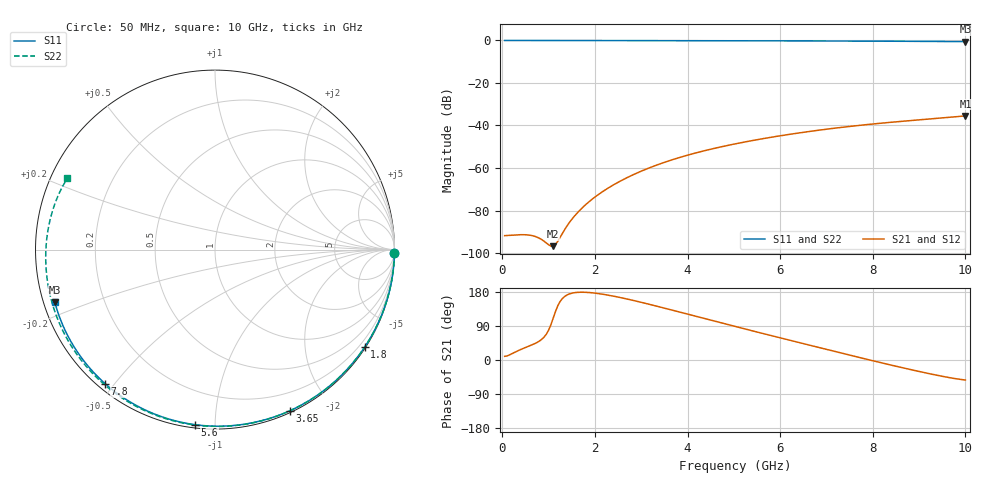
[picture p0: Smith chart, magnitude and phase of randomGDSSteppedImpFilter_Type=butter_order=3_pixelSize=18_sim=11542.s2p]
! freq	dB(S11)	phase(S11)	dB(S12)	phase(S12)
!  dB(S21)	phase(S21)	dB(S22)	phase(S22)
!S-par simulation data
#  GHz  S  DB  R 50
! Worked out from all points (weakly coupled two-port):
!   200 points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, 50 MHz to 10 GHz, reference 50 ohm
!   highest |S21| = -35.48 dB at 10 GHz (marker M1); lowest = -96.8 dB at 1.1 GHz (marker M2)
!   lowest |S11| = -0.5 dB at 10 GHz (marker M3), VSWR 31.96, Z = 1.6 - j7.94 ohm
!   |S11| at or under -10 dB: nowhere
!   |S22| runs from -0.8 to 0.0 dB; largest |S21 - S12| = 0
!   S11 on the Smith chart (normalised r, x): 50 MHz: open; 1.8 GHz: 0.03, -3.37; 3.65 GHz: 0.02, -1.56; 5.6 GHz: 0.02, -0.89; 7.8 GHz: 0.02, -0.47; 10 GHz: 0.03, -0.16
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0.05  -0.00 -0.9  -91.82 9.7  -91.82 9.7  -0.00 -1.1
0.55  -0.01 -10.2  -91.48 35.3  -91.48 35.3  -0.01 -12.1
1.1  -0.02 -20.4  -96.77 110.4  -96.77 110.4  -0.03 -24.0
1.65  -0.04 -30.4  -80.40 178.7  -80.40 178.7  -0.04 -35.7
1.75  -0.04 -32.2  -78.24 178.9  -78.24 178.9  -0.05 -37.8
1.8  -0.04 -33.1  -77.24 178.7  -77.24 178.7  -0.05 -38.9
2.1  -0.05 -38.4  -72.09 174.9  -72.09 174.9  -0.06 -45.2
2.5  -0.06 -45.5  -66.72 166.1  -66.72 166.1  -0.07 -53.5
2.9  -0.07 -52.4  -62.43 155.2  -62.43 155.2  -0.08 -61.6
3.4  -0.08 -61.0  -58.10 140.0  -58.10 140.0  -0.09 -71.6
3.65  -0.09 -65.2  -56.26 132.2  -56.26 132.2  -0.10 -76.6
4.35  -0.11 -76.7  -51.95 109.8  -51.95 109.8  -0.13 -90.1
5.05  -0.14 -87.9  -48.55 87.8  -48.55 87.8  -0.16 -103.4
5.6  -0.16 -96.5  -46.30 70.7  -46.30 70.7  -0.19 -113.7
6.7  -0.22 -113.1  -42.60 37.2  -42.60 37.2  -0.26 -134.1
7.25  -0.26 -121.2  -41.07 20.5  -41.07 20.5  -0.31 -144.5
7.8  -0.30 -129.3  -39.74 4.0  -39.74 4.0  -0.36 -155.1
8.35  -0.35 -137.4  -38.57 -12.1  -38.57 -12.1  -0.43 -166.2
8.8  -0.40 -144.0  -37.72 -24.8  -37.72 -24.8  -0.49 -175.6
9.25  -0.45 -150.6  -36.91 -36.8  -36.91 -36.8  -0.56 174.2
9.65  -0.50 -156.6  -36.18 -46.4  -36.18 -46.4  -0.65 164.3
10  -0.54 -161.9  -35.48 -52.8  -35.48 -52.8  -0.79 154.2
